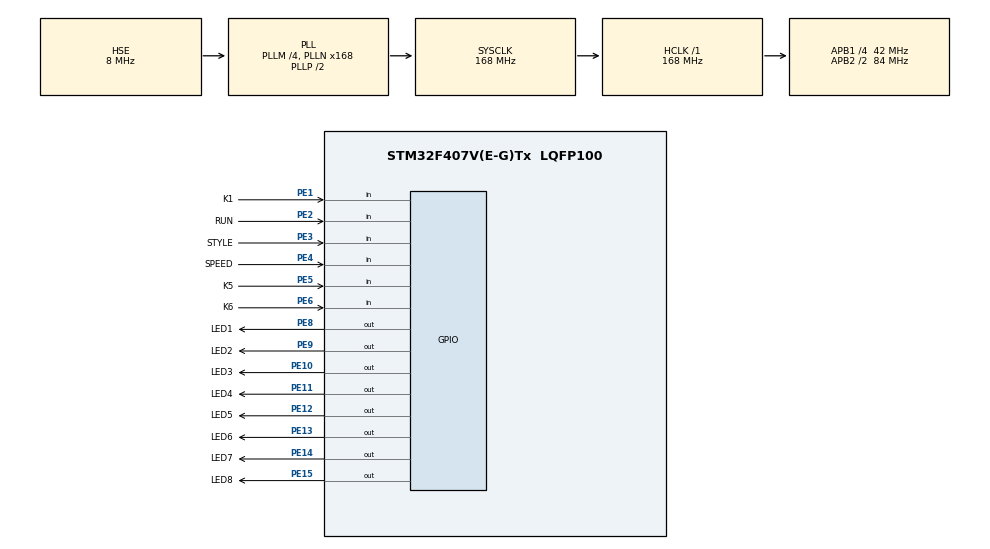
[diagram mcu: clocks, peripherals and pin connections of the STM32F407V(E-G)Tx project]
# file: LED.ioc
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Mcu.Family=STM32F4
Mcu.Name=STM32F407V(E-G)Tx
Mcu.Package=LQFP100
NVIC.PriorityGroup=NVIC_PRIORITYGROUP_4
PA13.Mode=Serial_Wire
PA13.Signal=SYS_JTMS-SWDIO
PA14.Mode=Serial_Wire
PA14.Signal=SYS_JTCK-SWCLK
PE1.GPIO_Label=K1
PE1.GPIO_PuPd=GPIO_PULLUP
PE1.Signal=GPIO_Input
PE10.GPIO_Label=LED3
PE10.Signal=GPIO_Output
PE11.GPIO_Label=LED4
PE11.Signal=GPIO_Output
PE12.GPIO_Label=LED5
PE12.Signal=GPIO_Output
PE13.GPIO_Label=LED6
PE13.Signal=GPIO_Output
PE14.GPIO_Label=LED7
PE14.Signal=GPIO_Output
PE15.GPIO_Label=LED8
PE15.Signal=GPIO_Output
PE2.GPIO_Label=RUN
PE2.GPIO_PuPd=GPIO_PULLUP
PE2.Signal=GPIO_Input
PE3.GPIO_Label=STYLE
PE3.GPIO_PuPd=GPIO_PULLUP
PE3.Signal=GPIO_Input
PE4.GPIO_Label=SPEED
PE4.GPIO_PuPd=GPIO_PULLUP
PE4.Signal=GPIO_Input
PE5.GPIO_Label=K5
PE5.Signal=GPIO_Input
PE6.GPIO_Label=K6
PE6.Signal=GPIO_Input
PE8.GPIO_Label=LED1
PE8.Signal=GPIO_Output
PE9.GPIO_Label=LED2
PE9.Signal=GPIO_Output
PH0-OSC_IN.Mode=HSE-External-Oscillator
PH0-OSC_IN.Signal=RCC_OSC_IN
PH1-OSC_OUT.Mode=HSE-External-Oscillator
PH1-OSC_OUT.Signal=RCC_OSC_OUT
ProjectManager.HeapSize=0x200
ProjectManager.StackSize=0x400
ProjectManager.TargetToolchain=MDK-ARM V5.32
RCC.48MHZClocksFreq_Value=84000000
RCC.AHBFreq_Value=168000000
RCC.APB1CLKDivider=RCC_HCLK_DIV4
RCC.APB1Freq_Value=42000000
RCC.APB1TimFreq_Value=84000000
RCC.APB2CLKDivider=RCC_HCLK_DIV2
RCC.APB2Freq_Value=84000000
RCC.APB2TimFreq_Value=168000000
RCC.CortexFreq_Value=168000000
RCC.HCLKFreq_Value=168000000
RCC.HSE_VALUE=8000000
RCC.HSI_VALUE=16000000
RCC.LSE_VALUE=32768
RCC.PLLM=4
RCC.PLLN=168
RCC.PLLSourceVirtual=RCC_PLLSOURCE_HSE
RCC.SYSCLKFreq_VALUE=168000000
RCC.SYSCLKSource=RCC_SYSCLKSOURCE_PLLCLK
RCC.VCOOutputFreq_Value=336000000
board=custom

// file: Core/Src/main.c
/* USER CODE BEGIN Header */
/**
  ******************************************************************************
  * @file           : main.c
  * @brief          : 流水灯控制程序 - 完全轮询版本
  * @note           : 不使用中断和RTOS
  ******************************************************************************
  */
/* USER CODE END Header */
#include "main.h"
#include "gpio.h"

/* USER CODE BEGIN Includes */
#include <stdint.h>
/* USER CODE END Includes */

/* USER CODE BEGIN PTD */

typedef enum {
    LED_STYLE_0 = 0,  // 依次点亮
    LED_STYLE_1,       // 依次熄灭
    LED_STYLE_2,       // 两端向中间
    LED_STYLE_3,       // 中间向两端
    LED_STYLE_4        // 随机闪烁
} LED_Style_t;

typedef struct {
    uint8_t running;           // 运行状态 0-暂停 1-运行
    uint8_t speed_index;       // 速度索引 0-9
    uint16_t speed_delay[10];  // 速度档位 50-500ms
    LED_Style_t style;         // 当前样式
    uint8_t current_pos;       // 当前位置
    uint8_t direction;         // 方向（部分样式用）
    uint32_t last_update_time; // 上次更新时间
} LED_Control_t;

typedef struct {
    uint8_t current_state;
    uint8_t last_state;
    uint8_t stable_state;
    uint32_t last_debounce_time;
} Key_State_t;

/* USER CODE END PTD */

/* USER CODE BEGIN PV */
LED_Control_t led_ctrl;

Key_State_t key_run;
Key_State_t key_speed;
Key_State_t key_style;
/* USER CODE END PV */

void SystemClock_Config(void);
/* USER CODE BEGIN PFP */
void LED_Update(void);
void LED_Style0_Update(void);
void LED_Style1_Update(void);
void LED_Style2_Update(void);
void LED_Style3_Update(void);
void LED_Style4_Update(void);
void Set_LED(uint8_t led_num, uint8_t state);
void ALL_LED_Off(void);
void Key_Scan(void);
void Key_Process(void);
uint8_t Key_Read(GPIO_TypeDef* GPIOx, uint16_t GPIO_Pin);
/* USER CODE END PFP */

/* USER CODE BEGIN 0 */

/**
  * @brief 读取按键当前电平（已取反，按下为1）
  */
uint8_t Key_Read(GPIO_TypeDef* GPIOx, uint16_t GPIO_Pin)
{
    return !HAL_GPIO_ReadPin(GPIOx, GPIO_Pin);
}

/**
  * @brief 按键扫描（带软件消抖）
  */
void Key_Scan(void)
{
    uint32_t current_time = HAL_GetTick();

    // RUN
    uint8_t raw_run = Key_Read(RUN_GPIO_Port, RUN_Pin);
    if(raw_run != key_run.last_state)
    {
        key_run.last_debounce_time = current_time;
        key_run.last_state = raw_run;
    }
    if((current_time - key_run.last_debounce_time) > 20)
    {
        if(raw_run != key_run.stable_state)
        {
            key_run.stable_state = raw_run;
            if(key_run.stable_state == 1)
            {
                key_run.current_state = 1;
            }
        }
    }

    // SPEED
    uint8_t raw_speed = Key_Read(SPEED_GPIO_Port, SPEED_Pin);
    if(raw_speed != key_speed.last_state)
    {
        key_speed.last_debounce_time = current_time;
        key_speed.last_state = raw_speed;
    }
    if((current_time - key_speed.last_debounce_time) > 20)
    {
        if(raw_speed != key_speed.stable_state)
        {
            key_speed.stable_state = raw_speed;
            if(key_speed.stable_state == 1)
            {
                key_speed.current_state = 1;
            }
        }
    }

    // STYLE
    uint8_t raw_style = Key_Read(STYLE_GPIO_Port, STYLE_Pin);
    if(raw_style != key_style.last_state)
    {
        key_style.last_debounce_time = current_time;
        key_style.last_state = raw_style;
    }
    if((current_time - key_style.last_debounce_time) > 20)
    {
        if(raw_style != key_style.stable_state)
        {
            key_style.stable_state = raw_style;
            if(key_style.stable_state == 1)
            {
                key_style.current_state = 1;
            }
        }
    }
}

/**
  * @brief 按键处理
  */
void Key_Process(void)
{
    if(key_run.current_state == 1)
    {
        key_run.current_state = 0;
        led_ctrl.running = !led_ctrl.running;
        if(!led_ctrl.running)
        {
            ALL_LED_Off();
        }
    }

    if(key_speed.current_state == 1)
    {
        key_speed.current_state = 0;
        led_ctrl.speed_index = (led_ctrl.speed_index + 1) % 10;
    }

    if(key_style.current_state == 1)
    {
        key_style.current_state = 0;
        led_ctrl.style = (LED_Style_t)(((uint8_t)led_ctrl.style + 1) % 5);
        led_ctrl.current_pos = 0;
    }
}

/**
  * @brief LED样式总更新
  */
void LED_Update(void)
{
    switch(led_ctrl.style)
    {
        case LED_STYLE_0: LED_Style0_Update(); break;
        case LED_STYLE_1: LED_Style1_Update(); break;
        case LED_STYLE_2: LED_Style2_Update(); break;
        case LED_STYLE_3: LED_Style3_Update(); break;
        case LED_STYLE_4: LED_Style4_Update(); break;
        default: break;
    }
}

void LED_Style0_Update(void)
{
    ALL_LED_Off();
    Set_LED(led_ctrl.current_pos, 1);
    led_ctrl.current_pos = (led_ctrl.current_pos + 1) % 8;
}

void LED_Style1_Update(void)
{
    static uint8_t first = 1;
    if(first)
    {
        for(int i = 0; i < 8; i++) Set_LED(i, 1);
        first = 0;
    }
    Set_LED(led_ctrl.current_pos, 0);
    led_ctrl.current_pos = (led_ctrl.current_pos + 1) % 8;
    if(led_ctrl.current_pos == 0) first = 1;
}

void LED_Style2_Update(void)
{
    ALL_LED_Off();
    Set_LED(led_ctrl.current_pos, 1);
    Set_LED(7 - led_ctrl.current_pos, 1);
    led_ctrl.current_pos++;
    if(led_ctrl.current_pos >= 4) led_ctrl.current_pos = 0;
}

void LED_Style3_Update(void)
{
    ALL_LED_Off();
    Set_LED(3 - led_ctrl.current_pos, 1);
    Set_LED(4 + led_ctrl.current_pos, 1);
    led_ctrl.current_pos++;
    if(led_ctrl.current_pos >= 4) led_ctrl.current_pos = 0;
}

void LED_Style4_Update(void)
{
    ALL_LED_Off();
    uint8_t count = (HAL_GetTick() % 3) + 1;
    for(int i = 0; i < count; i++)
    {
        uint8_t led = (HAL_GetTick() + i * 37) % 8;
        Set_LED(led, 1);
    }
}

void Set_LED(uint8_t led_num, uint8_t state)
{
    GPIO_PinState pin_state = (state == 1) ? GPIO_PIN_SET : GPIO_PIN_RESET;
    switch(led_num)
    {
        case 0: HAL_GPIO_WritePin(LED1_GPIO_Port, LED1_Pin, pin_state); break;
        case 1: HAL_GPIO_WritePin(LED2_GPIO_Port, LED2_Pin, pin_state); break;
        case 2: HAL_GPIO_WritePin(LED3_GPIO_Port, LED3_Pin, pin_state); break;
        case 3: HAL_GPIO_WritePin(LED4_GPIO_Port, LED4_Pin, pin_state); break;
        case 4: HAL_GPIO_WritePin(LED5_GPIO_Port, LED5_Pin, pin_state); break;
        case 5: HAL_GPIO_WritePin(LED6_GPIO_Port, LED6_Pin, pin_state); break;
        case 6: HAL_GPIO_WritePin(LED7_GPIO_Port, LED7_Pin, pin_state); break;
        case 7: HAL_GPIO_WritePin(LED8_GPIO_Port, LED8_Pin, pin_state); break;
        default: break;
    }
}

void ALL_LED_Off(void)
{
    for(int i = 0; i < 8; i++)
    {
        Set_LED(i, 0);
    }
}

/* USER CODE END 0 */

int main(void)
{

  /* MCU Configuration--------------------------------------------------------*/

  /* Reset of all peripherals, Initializes the Flash interface and the Systick. */
  HAL_Init();

  /* Configure the system clock */
  SystemClock_Config();

  /* Initialize all configured peripherals */
  MX_GPIO_Init();
  /* USER CODE BEGIN 2 */

  // 初始化LED控制结构体
  led_ctrl.running = 1;
  led_ctrl.speed_index = 4; // 默认250ms
  const uint16_t delays[10] = {50,100,150,200,250,300,350,400,450,500};
  for(int i = 0; i < 10; i++) led_ctrl.speed_delay[i] = delays[i];
  led_ctrl.style = LED_STYLE_0;
  led_ctrl.current_pos = 0;
  led_ctrl.direction = 0;
  led_ctrl.last_update_time = HAL_GetTick();

  // 初始化按键状态
  key_run.current_state = key_run.last_state = key_run.stable_state = 0;
  key_speed.current_state = key_speed.last_state = key_speed.stable_state = 0;
  key_style.current_state = key_style.last_state = key_style.stable_state = 0;

  ALL_LED_Off();

  /* USER CODE END 2 */

  /* Infinite loop */
  /* USER CODE BEGIN WHILE */
  while (1)
  {
    Key_Scan();
    Key_Process();

    uint32_t now = HAL_GetTick();
    if(led_ctrl.running && (now - led_ctrl.last_update_time) >= led_ctrl.speed_delay[led_ctrl.speed_index])
    {
        led_ctrl.last_update_time = now;
        LED_Update();
    }

    /* USER CODE END WHILE */

    /* USER CODE BEGIN 3 */
    HAL_Delay(5); // 轻微延时降低CPU占用（可选）
  }
  /* USER CODE END 3 */
}

void SystemClock_Config(void)
{
  RCC_OscInitTypeDef RCC_OscInitStruct = {0};
  RCC_ClkInitTypeDef RCC_ClkInitStruct = {0};

  /** Configure the main internal regulator output voltage
  */
  __HAL_RCC_PWR_CLK_ENABLE();
  __HAL_PWR_VOLTAGESCALING_CONFIG(PWR_REGULATOR_VOLTAGE_SCALE1);

  /** Initializes the RCC Oscillators according to the specified parameters
  * in the RCC_OscInitTypeDef structure.
  */
  RCC_OscInitStruct.OscillatorType = RCC_OSCILLATORTYPE_HSE;
  RCC_OscInitStruct.HSEState = RCC_HSE_ON;
  RCC_OscInitStruct.PLL.PLLState = RCC_PLL_ON;
  RCC_OscInitStruct.PLL.PLLSource = RCC_PLLSOURCE_HSE;
  RCC_OscInitStruct.PLL.PLLM = 4;
  RCC_OscInitStruct.PLL.PLLN = 168;
  RCC_OscInitStruct.PLL.PLLP = RCC_PLLP_DIV2;
  RCC_OscInitStruct.PLL.PLLQ = 4;
  if (HAL_RCC_OscConfig(&RCC_OscInitStruct) != HAL_OK)
  {
    Error_Handler();
  }

  /** Initializes the CPU, AHB and APB buses clocks
  */
  RCC_ClkInitStruct.ClockType = RCC_CLOCKTYPE_HCLK|RCC_CLOCKTYPE_SYSCLK
                              |RCC_CLOCKTYPE_PCLK1|RCC_CLOCKTYPE_PCLK2;
  RCC_ClkInitStruct.SYSCLKSource = RCC_SYSCLKSOURCE_PLLCLK;
  RCC_ClkInitStruct.AHBCLKDivider = RCC_SYSCLK_DIV1;
  RCC_ClkInitStruct.APB1CLKDivider = RCC_HCLK_DIV4;
  RCC_ClkInitStruct.APB2CLKDivider = RCC_HCLK_DIV2;

  if (HAL_RCC_ClockConfig(&RCC_ClkInitStruct, FLASH_LATENCY_5) != HAL_OK)
  {
    Error_Handler();
  }
}

void Error_Handler(void)
{
  /* USER CODE BEGIN Error_Handler_Debug */
  while(1)
  {
    HAL_GPIO_TogglePin(LED1_GPIO_Port, LED1_Pin);
    HAL_Delay(100);
  }
  /* USER CODE END Error_Handler_Debug */
}
#ifdef USE_FULL_ASSERT
/**
  * @brief  Reports the name of the source file and the source line number
  *         where the assert_param error has occurred.
  * @param  file: pointer to the source file name
  * @param  line: assert_param error line source number
  * @retval None
  */
void assert_failed(uint8_t *file, uint32_t line)
{
  /* USER CODE BEGIN 6 */
  while(1)
  {
    HAL_GPIO_TogglePin(LED2_GPIO_Port, LED2_Pin);
    HAL_Delay(500);
  }
  /* USER CODE END 6 */
}
#endif /* USE_FULL_ASSERT */
